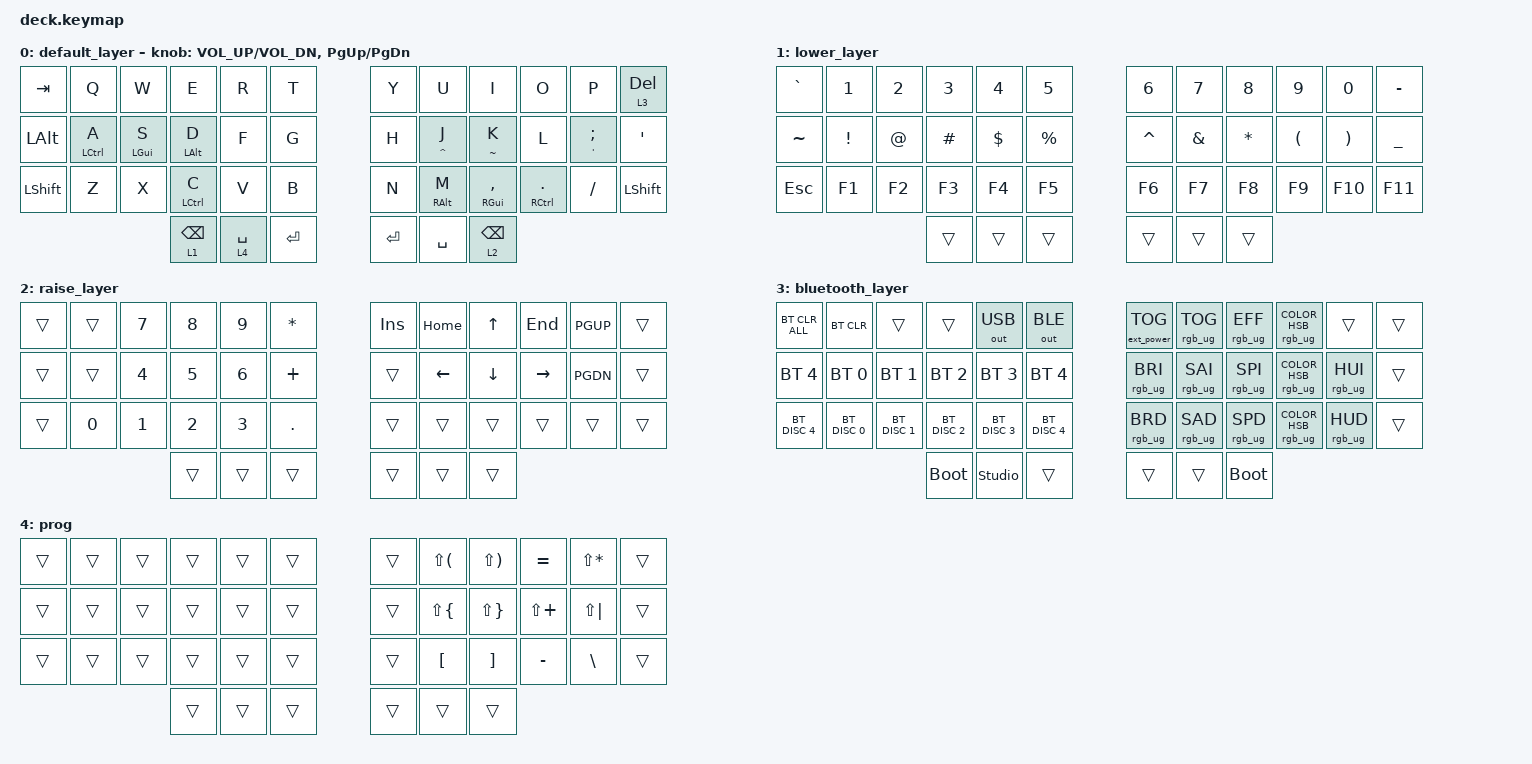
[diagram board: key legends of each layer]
#include <behaviors.dtsi>
#include <dt-bindings/zmk/bt.h>
#include <dt-bindings/zmk/ext_power.h>
#include <dt-bindings/zmk/keys.h>
#include <dt-bindings/zmk/outputs.h>
#include <dt-bindings/zmk/rgb.h>

/ {
    behaviors {
        ht_es: mod_tap {
            compatible = "zmk,behavior-hold-tap";
            #binding-cells = <2>;
            flavor = "tap-preferred";
            tapping-term-ms = <200>;
            bindings = <&kp>, <&kp>;

            display-name = "Mod-Tap";
        };
    };

    combos {
        compatible = "zmk,combos";

        capsl {
            bindings = <&kt CLCK>;
            key-positions = <24 35>;
            layers = <0>;
        };
    };

    keymap {
        compatible = "zmk,keymap";

        default_layer {
            bindings = <
&kp TAB    &kp Q           &kp W              &kp E              &kp R        &kp T        &kp Y    &kp U               &kp I                   &kp O             &kp P         &lt 3 DEL
&kp LALT   &ht_es LCTRL A  &ht_es LEFT_GUI S  &ht_es LEFT_ALT D  &kp F        &kp G        &kp H    &mt CARET J         &mt TILDE K             &kp L             &mt SQT SEMI  &kp SQT
&kp LSHFT  &kp Z           &kp X              &mt LCTRL C        &kp V        &kp B        &kp N    &ht_es RIGHT_ALT M  &ht_es RIGHT_GUI COMMA  &ht_es RCTRL DOT  &kp FSLH      &kp LSHFT
                                              &lt 1 BACKSPACE    &lt 4 SPACE  &kp ENTER    &kp RET  &kp SPACE           &lt 2 BACKSPACE
            >;

            sensor-bindings = <&inc_dec_kp C_VOL_UP C_VOL_DN &inc_dec_kp PG_UP PG_DN>;
        };

        lower_layer {
            bindings = <
&kp GRAVE  &kp N1    &kp N2  &kp N3    &kp N4    &kp N5       &kp N6     &kp N7    &kp N8     &kp N9    &kp N0    &kp MINUS
&kp TILDE  &kp EXCL  &kp AT  &kp HASH  &kp DLLR  &kp PRCNT    &kp CARET  &kp AMPS  &kp ASTRK  &kp LPAR  &kp RPAR  &kp UNDER
&kp ESC    &kp F1    &kp F2  &kp F3    &kp F4    &kp F5       &kp F6     &kp F7    &kp F8     &kp F9    &kp F10   &kp F11
                             &trans    &trans    &trans       &trans     &trans    &trans
            >;
        };

        raise_layer {
            bindings = <
&trans  &trans  &kp N7  &kp N8  &kp N9  &kp ASTRK    &kp INSERT  &kp HOME  &kp UP    &kp END    &kp PGUP  &trans
&trans  &trans  &kp N4  &kp N5  &kp N6  &kp PLUS     &trans      &kp LEFT  &kp DOWN  &kp RIGHT  &kp PGDN  &trans
&trans  &kp N0  &kp N1  &kp N2  &kp N3  &kp DOT      &trans      &trans    &trans    &trans     &trans    &trans
                        &trans  &trans  &trans       &trans      &trans    &trans
            >;
        };

        bluetooth_layer {
            bindings = <
&bt BT_CLR_ALL  &bt BT_CLR     &trans         &trans         &out OUT_USB    &out OUT_BLE     &ext_power EP_TOG  &rgb_ug RGB_TOG  &rgb_ug RGB_EFF  &rgb_ug RGB_COLOR_HSB(66,100,49)  &trans           &trans
&bt BT_SEL 4    &bt BT_SEL 0   &bt BT_SEL 1   &bt BT_SEL 2   &bt BT_SEL 3    &bt BT_SEL 4     &rgb_ug RGB_BRI    &rgb_ug RGB_SAI  &rgb_ug RGB_SPI  &rgb_ug RGB_COLOR_HSB(0,100,50)   &rgb_ug RGB_HUI  &trans
&bt BT_DISC 4   &bt BT_DISC 0  &bt BT_DISC 1  &bt BT_DISC 2  &bt BT_DISC 3   &bt BT_DISC 4    &rgb_ug RGB_BRD    &rgb_ug RGB_SAD  &rgb_ug RGB_SPD  &rgb_ug RGB_COLOR_HSB(117,87,47)  &rgb_ug RGB_HUD  &trans
                                              &bootloader    &studio_unlock  &trans           &trans             &trans           &bootloader
            >;
        };

        prog {
            bindings = <
&trans  &trans  &trans  &trans  &trans  &trans    &trans  &kp LS(LPAR)  &kp LS(RPAR)  &kp EQUAL     &kp LS(STAR)  &trans
&trans  &trans  &trans  &trans  &trans  &trans    &trans  &kp LS(LBRC)  &kp LS(RBRC)  &kp LS(PLUS)  &kp LS(PIPE)  &trans
&trans  &trans  &trans  &trans  &trans  &trans    &trans  &kp LBKT      &kp RBKT      &kp MINUS     &kp BSLH      &trans
                        &trans  &trans  &trans    &trans  &trans        &trans
            >;
        };
    };
};

